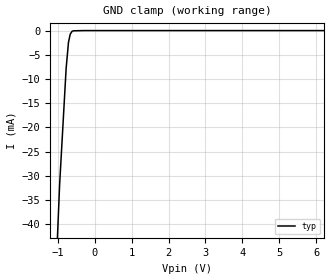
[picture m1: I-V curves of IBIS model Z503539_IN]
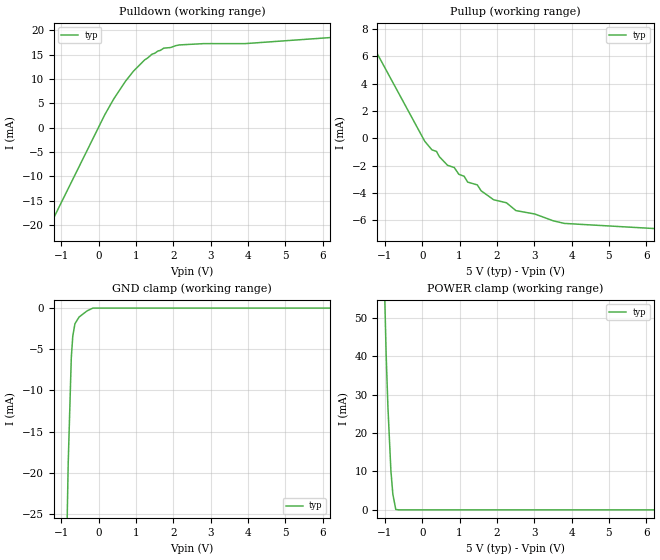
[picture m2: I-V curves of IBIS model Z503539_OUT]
| YOU ARE ONLY AUTHORIZED TO USE THIS SOFTWARE
| ACCORDING TO LICENSOR'S LICENSE RESTRICTIONS.
[IBIS Ver] 3.1
[File Name] mc14050bcl.ibs
[File Rev] 2.0
[Source] Measured and created by ICX Technology
[Date] Friday 7/14/00 9:07:52 AM
[Copyright]
| (C) COPYRIGHT 1993-2000
| MENTOR GRAPHICS CORPORATION
| ICX STANDARD LIBRARY, ICX PROJECT MODELING,
| ICX CUSTOM MODELING, ICX VENDOR MODEL
| ALL RIGHTS RESERVED.
| THE FOLLOWING ARE TRADEMARKS OR SERVICE MARKS OF
| MENTOR GRAPHICS CORPORATION:ICX (R), ICX STANDARD
| LIBRARY(R), ICX PROJECT MODELING(R), ICX CUSTOM
| MODELING(R), qualityIBIS(TM), MODELVIEWER(TM),
| AND MODELEDITOR(TM)
| ALL COPIES OF SOFTWARE, INCLUDING BUT NOT LIMITED TO
| ANY MODIFICATIONS, ENHANCEMENTS OR DERIVATIVE WORKS,
| MUST CONTAIN ALL MENTOR GRAPHICS CORPORATION'S
| NOTICES AND LEGENDS, INCLUDING THOSE EMBEDDED IN
| SOFTWARE AND THOSE AFFIXED TO SOFTWARE MEDIUM
| AND CONTAINER, AS RECEIVED FROM MENTOR GRAPHICS
| CORPORATION.
|  ZAP Model Builder 2.7
[Component] MC14050BCL
[Manufacturer] OnSemiconductor
[Package]
| variable   typ   min   max
R_pkg  .212ohms NA NA
L_pkg  4.758nH NA NA
C_pkg  1.944pF NA NA
[Pin] signal_name  model_name  R_pin  L_pin C_pin
1 VDD POWER .224 7.258n 2.683p
2 OUT Z503539_OUT .216 5.258n 2.19p
3 IN Z503539_IN .208 3.758n 1.697p
4 OUT Z503539_OUT .2 2.758n 1.204p
5 IN Z503539_IN .2 2.758n 1.204p
6 OUT Z503539_OUT .208 3.758n 1.697p
7 IN Z503539_IN .216 5.258n 2.19p
8 VSS POWER .224 7.258n 2.683p
9 IN Z503539_IN .224 7.258n 2.683p
10 OUT Z503539_OUT .216 5.258n 2.19p
11 IN Z503539_IN .208 3.758n 1.697p
12 OUT Z503539_OUT .2 2.758n 1.204p
13 NC NC .2 2.758n 1.204p
14 IN Z503539_IN .208 3.758n 1.697p
15 OUT Z503539_OUT .216 5.258n 2.19p
16 NC NC .224 7.258n 2.683p
| Models and submodels in the file (2): Z503539_IN (Input), Z503539_OUT (Output)
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| (C) COPYRIGHT 1993-2000
| MENTOR GRAPHICS CORPORATION
| ICX STANDARD LIBRARY, ICX PROJECT MODELING,
| ICX CUSTOM MODELING, ICX VENDOR MODEL
| ALL RIGHTS RESERVED.
| THE FOLLOWING ARE TRADEMARKS OR SERVICE MARKS OF
| MENTOR GRAPHICS CORPORATION:ICX (R), ICX STANDARD
| LIBRARY(R), ICX PROJECT MODELING(R), ICX CUSTOM
| MODELING(R), qualityIBIS(TM), MODELVIEWER(TM),
| AND MODELEDITOR(TM)
| ALL COPIES OF SOFTWARE, INCLUDING BUT NOT LIMITED TO
| ANY MODIFICATIONS, ENHANCEMENTS OR DERIVATIVE WORKS,
| MUST CONTAIN ALL MENTOR GRAPHICS CORPORATION'S
| NOTICES AND LEGENDS, INCLUDING THOSE EMBEDDED IN
| SOFTWARE AND THOSE AFFIXED TO SOFTWARE MEDIUM
| AND CONTAINER, AS RECEIVED FROM MENTOR GRAPHICS
| CORPORATION.
| Model Application Version 1.89 2/18/99.
[Model] Z503539_IN
Model_type Input
Vinl = 1.500V
Vinh = 3.500V
C_comp 4.000pF NA NA
| variable typ   min   max
[Voltage Range] 5.000V NA NA
[GND Clamp Reference] 0.000V NA NA
[POWER Clamp Reference] 5.000V NA NA
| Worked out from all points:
|   GND clamp passes 1 mA (typ) near -0.67 V on its own axis
[GND Clamp]
-5V       -776.3mA   NA         NA
-946.7mV  -31.74mA   NA         NA
-770.9mV  -7.8mA     NA         NA
-707.4mV  -2.404mA   NA         NA
-660.1mV  -735.4uA   NA         NA
-609.4mV  -139.6uA   NA         NA
-571.2mV  -35.86uA   NA         NA
-285.6mV  9.396uA    NA         NA
10V       9.396uA    NA         NA
[POWER Clamp]
-5V       0A         NA         NA
10V       0A         NA         NA
| (C) COPYRIGHT 1993-2000
| MENTOR GRAPHICS CORPORATION
| ICX STANDARD LIBRARY, ICX PROJECT MODELING,
| ICX CUSTOM MODELING, ICX VENDOR MODEL
| ALL RIGHTS RESERVED.
| THE FOLLOWING ARE TRADEMARKS OR SERVICE MARKS OF
| MENTOR GRAPHICS CORPORATION:ICX (R), ICX STANDARD
| LIBRARY(R), ICX PROJECT MODELING(R), ICX CUSTOM
| MODELING(R), qualityIBIS(TM), MODELVIEWER(TM),
| AND MODELEDITOR(TM)
| ALL COPIES OF SOFTWARE, INCLUDING BUT NOT LIMITED TO
| ANY MODIFICATIONS, ENHANCEMENTS OR DERIVATIVE WORKS,
| MUST CONTAIN ALL MENTOR GRAPHICS CORPORATION'S
| NOTICES AND LEGENDS, INCLUDING THOSE EMBEDDED IN
| SOFTWARE AND THOSE AFFIXED TO SOFTWARE MEDIUM
| AND CONTAINER, AS RECEIVED FROM MENTOR GRAPHICS
| CORPORATION.
| Model Application Version 1.89 2/18/99.
[Model] Z503539_OUT
Model_type Output
Vref=0.000V
Rref=500.0Mohms
Cref=50.00pF
Vmeas=2.500V
C_comp 8.000pF NA NA
| variable typ   min   max
[Voltage Range] 5.000V NA NA
[POWER Clamp Reference] 5.000V NA NA
[Pullup Reference] 5.000V NA NA
[Pulldown Reference] 0.000V NA NA
[GND Clamp Reference] 0.000V NA NA
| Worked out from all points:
|   slope of the pulldown table from 0 to 0.75 V, typ, clamps not added: 77.1 ohm
|   slope of the pullup table from 0 to 0.75 V, typ, clamps not added: 345 ohm
|   GND clamp passes 1 mA (typ) near -0.50 V on its own axis
|   POWER clamp passes 1 mA (typ) near -0.73 V on its own axis
[GND Clamp]
-5V       -1.26A     NA         NA
-1.05V    -76.76mA   NA         NA
-814.9mV  -18.84mA   NA         NA
-732.4mV  -6.07mA    NA         NA
-692.8mV  -3.413mA   NA         NA
-634.8mV  -1.902mA   NA         NA
-522.4mV  -1.081mA   NA         NA
-307.2mV  -333.7uA   NA         NA
-153.6mV  0A         NA         NA
10V       0A         NA         NA
[Pulldown]
-5V       -77.37mA   NA         NA
166mV     2.657mA    NA         NA
400.7mV   5.827mA    NA         NA
713.1mV   9.45mA     NA         NA
931.4mV   11.57mA    NA         NA
1.23V     13.88mA    NA         NA
1.43V     15.07mA    NA         NA
1.744V    16.31mA    NA         NA
2.163V    16.97mA    NA         NA
2.821V    17.24mA    NA         NA
3.924V    17.24mA    NA         NA
10V       20.55mA    NA         NA
[Pullup]
-5V       25.39mA    NA         NA
68mV      -221.4uA   NA         NA
679mV     -1.986mA   NA         NA
1.122V    -2.789mA   NA         NA
1.218V    -3.217mA   NA         NA
1.475V    -3.422mA   NA         NA
1.577V    -3.853mA   NA         NA
1.914V    -4.514mA   NA         NA
2.255V    -4.733mA   NA         NA
2.51V     -5.308mA   NA         NA
3.806V    -6.248mA   NA         NA
10V       -7.217mA   NA         NA
[POWER Clamp]
-5V       1.917A     NA         NA
-1.132V   105.9mA    NA         NA
-965mV    40.44mA    NA         NA
-918mV    26.79mA    NA         NA
-838mV    10.19mA    NA         NA
-786mV    4.081mA    NA         NA
-708mV    113.3uA    NA         NA
-629.3mV  0A         NA         NA
10V       0A         NA         NA
[Ramp]
| variable typ min max
dV/dt_r 2.643/16.72n NA NA
dV/dt_f 2.643/9.038n NA NA
R_load = 2.500kOhms
